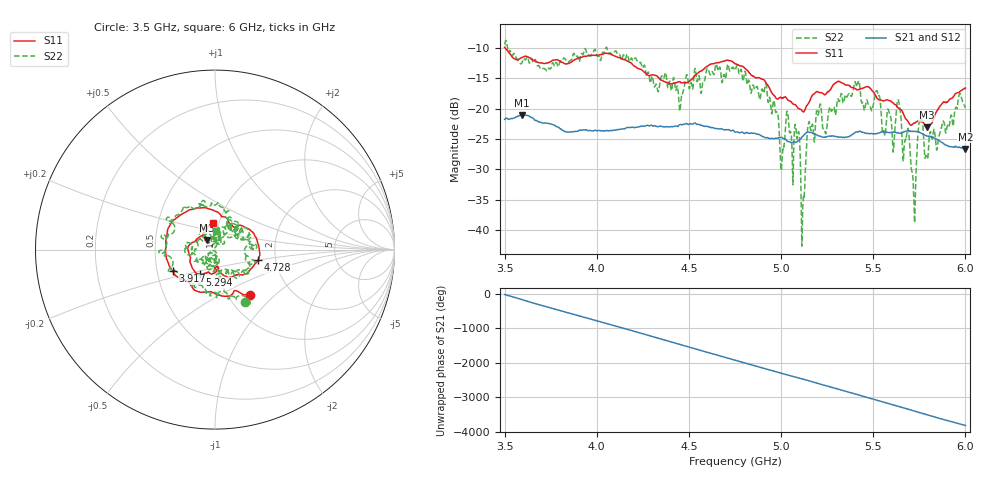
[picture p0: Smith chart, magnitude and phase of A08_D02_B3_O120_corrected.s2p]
! Created with skrf 1.9.0 (http://scikit-rf.org).
# Hz S RI R 50.0
!freq ReS11 ImS11 ReS21 ImS21 ReS12 ImS12 ReS22 ImS22
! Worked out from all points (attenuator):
!   1601 points, 3.5 GHz to 6 GHz, reference 50 ohm
!   highest |S21| = -21.03 dB at 3.592 GHz (marker M1); lowest = -26.6 dB at 6 GHz (marker M2)
!   lowest |S11| = -23.1 dB at 5.791 GHz (marker M3), VSWR 1.15, Z = 45.4 + j4.85 ohm
!   |S11| at or under -10 dB: 3.504 GHz to end of sweep
!   |S22| runs from -42.7 to -8.7 dB; largest |S21 - S12| = 0.00098
!   S11 on the Smith chart (normalised r, x): 3.5 GHz: 1.26, -0.71; 3.917 GHz: 0.60, -0.16; 4.728 GHz: 1.62, -0.21; 5.294 GHz: 0.81, -0.23; 6 GHz: 0.94, +0.28
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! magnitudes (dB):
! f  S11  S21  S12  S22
! 3.5 GHz  -9.9  -21.8  -21.7  -9.4
! 3.592 GHz  -11.6  -21.0  -21.0  -12.6
! 3.917 GHz  -11.5  -23.5  -23.5  -10.9
! 4.334 GHz  -14.9  -23.0  -22.9  -17.1
! 4.728 GHz  -12.1  -23.7  -23.5  -13.6
! 4.75 GHz  -12.6  -23.9  -23.8  -13.7
! 4.969 GHz  -18.1  -24.9  -24.8  -20.3
! 5.005 GHz  -18.2  -24.8  -24.8  -28.6
! 5.033 GHz  -18.4  -25.3  -25.2  -20.4
! 5.086 GHz  -19.6  -25.5  -25.4  -25.0
! 5.119 GHz  -20.5  -24.5  -24.4  -35.6
! 5.145 GHz  -19.3  -23.9  -23.8  -22.9
! 5.167 GHz  -17.9  -24.0  -23.9  -22.8
! 5.294 GHz  -15.8  -24.6  -24.5  -20.9
! 5.412 GHz  -16.9  -23.9  -23.8  -16.1
! 5.584 GHz  -18.6  -23.9  -23.9  -20.3
! 5.611 GHz  -19.2  -23.8  -23.8  -26.4
! 5.639 GHz  -20.0  -24.0  -24.0  -18.9
! 5.719 GHz  -22.4  -23.8  -23.7  -33.7
! 5.755 GHz  -22.1  -24.0  -23.9  -21.7
! 5.791 GHz  -23.1  -24.5  -24.4  -27.9
! 6 GHz  -16.6  -26.6  -26.6  -19.9
